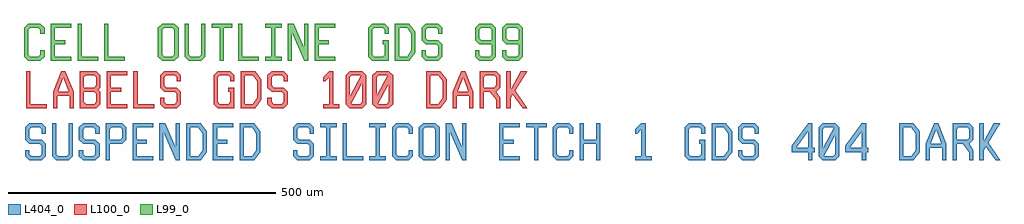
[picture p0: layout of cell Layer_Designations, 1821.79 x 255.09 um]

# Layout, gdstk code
import gdstk
lib = gdstk.Library(unit=1e-6, precision=1e-09)
def R(c, l, rs):  # rectangles x0, y0, x1, y1
    for r in rs: c.add(gdstk.rectangle(r[:2], r[2:], *l))
def P(c, l, *ps):  # polygons
    for p in ps: c.add(gdstk.Polygon(p, *l))
L99_0 = (99, 0)
L100_0 = (100, 0)
L404_0 = (404, 0)

layer_designations = lib.new_cell('Layer_Designations')
R(layer_designations, L99_0, [(-63.279,34.715,-55.587,103.945)])
P(layer_designations, L99_0, [(-747.894,34.715),(-755.587,42.407),(-755.587,96.253),(-747.894,103.945),(-724.817,103.945),(-717.125,96.253),(-717.125,84.715),(-724.817,84.715),(-724.817,92.407),(-728.664,96.253),(-744.048,96.253),(-747.894,92.407),(-747.894,46.253),(-744.048,42.407),(-728.664,42.407),(-724.817,46.253),(-724.817,53.945),(-717.125,53.945),(-717.125,42.407),(-724.817,34.715)],
  [(-705.587,34.715),(-705.587,103.945),(-667.125,103.945),(-667.125,96.253),(-697.894,96.253),(-697.894,73.176),(-678.664,73.176),(-678.664,65.484),(-697.894,65.484),(-697.894,42.407),(-667.125,42.407),(-667.125,34.715)],
  [(-655.587,34.715),(-655.587,103.945),(-647.894,103.945),(-647.894,42.407),(-617.125,42.407),(-617.125,34.715)],
  [(-605.587,34.715),(-605.587,103.945),(-597.894,103.945),(-597.894,42.407),(-567.125,42.407),(-567.125,34.715)],
  [(-497.894,34.715),(-505.587,42.407),(-505.587,96.253),(-497.894,103.945),(-494.048,103.945),(-494.048,96.253),(-497.894,92.407),(-497.894,46.253),(-494.048,42.407),(-478.664,42.407),(-474.817,46.253),(-474.817,92.407),(-478.664,96.253),(-494.048,96.253),(-494.048,103.945),(-474.817,103.945),(-467.125,96.253),(-467.125,42.407),(-474.817,34.715)],
  [(-447.894,34.715),(-455.587,42.407),(-455.587,103.945),(-447.894,103.945),(-447.894,46.253),(-444.048,42.407),(-428.664,42.407),(-424.817,46.253),(-424.817,103.945),(-417.125,103.945),(-417.125,42.407),(-424.817,34.715)],
  [(-390.202,34.715),(-390.202,96.253),(-405.587,96.253),(-405.587,103.945),(-367.125,103.945),(-367.125,96.253),(-382.51,96.253),(-382.51,34.715)],
  [(-355.587,34.715),(-355.587,103.945),(-347.894,103.945),(-347.894,42.407),(-317.125,42.407),(-317.125,34.715)],
  [(-305.587,34.715),(-305.587,42.407),(-294.048,42.407),(-294.048,96.253),(-305.587,96.253),(-305.587,103.945),(-274.817,103.945),(-274.817,96.253),(-286.356,96.253),(-286.356,42.407),(-274.817,42.407),(-274.817,34.715)],
  [(-263.279,34.715),(-263.279,103.945),(-251.741,103.945),(-232.51,57.792),(-232.51,103.945),(-224.817,103.945),(-224.817,34.715),(-232.51,34.715),(-255.587,88.561),(-255.587,34.715)],
  [(-213.279,34.715),(-213.279,103.945),(-174.817,103.945),(-174.817,96.253),(-205.587,96.253),(-205.587,73.176),(-186.356,73.176),(-186.356,65.484),(-205.587,65.484),(-205.587,42.407),(-174.817,42.407),(-174.817,34.715)],
  [(-105.587,34.715),(-113.279,42.407),(-113.279,96.253),(-105.587,103.945),(-82.51,103.945),(-74.817,96.253),(-74.817,84.715),(-82.51,84.715),(-82.51,92.407),(-86.356,96.253),(-101.741,96.253),(-105.587,92.407),(-105.587,46.253),(-101.741,42.407),(-86.356,42.407),(-82.51,46.253),(-82.51,65.484),(-86.356,65.484),(-86.356,73.176),(-74.817,73.176),(-74.817,34.715)],
  [(-63.279,34.715),(-63.279,42.407),(-40.202,42.407),(-32.51,53.945),(-32.51,84.715),(-40.202,96.253),(-63.279,96.253),(-63.279,103.945),(-36.356,103.945),(-24.817,88.561),(-24.817,50.099),(-36.356,34.715)],
  [(-5.587,34.715),(-13.279,42.407),(-13.279,53.945),(-5.587,53.945),(-5.587,46.253),(-1.741,42.407),(13.644,42.407),(17.49,46.253),(17.49,61.638),(13.644,65.484),(-5.587,65.484),(-13.279,73.176),(-13.279,96.253),(-5.587,103.945),(17.49,103.945),(25.183,96.253),(25.183,84.715),(17.49,84.715),(17.49,92.407),(13.644,96.253),(-1.741,96.253),(-5.587,92.407),(-5.587,77.022),(-1.741,73.176),(17.49,73.176),(25.183,65.484),(25.183,42.407),(17.49,34.715)],
  [(94.413,34.715),(86.721,42.407),(86.721,53.945),(94.413,53.945),(94.413,46.253),(98.259,42.407),(113.644,42.407),(117.49,46.253),(117.49,65.484),(94.413,65.484),(86.721,73.176),(86.721,96.253),(94.413,103.945),(98.259,103.945),(98.259,96.253),(94.413,92.407),(94.413,77.022),(98.259,73.176),(117.49,73.176),(117.49,92.407),(113.644,96.253),(98.259,96.253),(98.259,103.945),(117.49,103.945),(125.183,96.253),(125.183,42.407),(117.49,34.715)],
  [(144.413,34.715),(136.721,42.407),(136.721,53.945),(144.413,53.945),(144.413,46.253),(148.259,42.407),(163.644,42.407),(167.49,46.253),(167.49,65.484),(144.413,65.484),(136.721,73.176),(136.721,96.253),(144.413,103.945),(148.259,103.945),(148.259,96.253),(144.413,92.407),(144.413,77.022),(148.259,73.176),(167.49,73.176),(167.49,92.407),(163.644,96.253),(148.259,96.253),(148.259,103.945),(167.49,103.945),(175.183,96.253),(175.183,42.407),(167.49,34.715)])
R(layer_designations, L100_0, [(-351.295,-53.729,-343.602,15.501), (-5.141,-53.729,2.551,15.501), (144.859,-53.729,152.551,15.501), (-701.295,-30.652,-662.833,-22.96), (44.859,-30.652,83.321,-22.96)])
P(layer_designations, L100_0, [(175.628,-53.729),(152.551,-22.96),(160.244,-19.114),(183.321,-53.729)],
  [(144.859,-53.729),(144.859,15.501),(152.551,15.501),(152.551,-19.114),(171.782,15.501),(183.321,15.501),(152.551,-34.499),(152.551,-53.729)],
  [(125.628,-53.729),(125.628,-38.345),(114.09,-22.96),(125.628,-22.96),(133.321,-34.499),(133.321,-53.729)],
  [(94.859,-53.729),(94.859,15.501),(106.398,15.501),(106.398,7.809),(102.551,3.963),(102.551,-15.268),(121.782,-15.268),(125.628,-11.422),(125.628,3.963),(121.782,7.809),(106.398,7.809),(106.398,15.501),(125.628,15.501),(133.321,7.809),(133.321,-15.268),(125.628,-22.96),(102.551,-22.96),(102.551,-53.729)],
  [(44.859,-53.729),(44.859,-22.96),(60.244,15.501),(67.936,15.501),(83.321,-22.96),(83.321,-53.729),(75.628,-53.729),(75.628,-26.806),(64.09,3.963),(52.551,-26.806),(52.551,-53.729)],
  [(-5.141,-53.729),(-5.141,-46.037),(17.936,-46.037),(25.628,-34.499),(25.628,-3.729),(17.936,7.809),(-5.141,7.809),(-5.141,15.501),(21.782,15.501),(33.321,0.117),(33.321,-38.345),(21.782,-53.729)],
  [(-97.449,-49.883),(-105.141,-46.037),(-74.372,11.655),(-66.679,7.809)],
  [(-97.449,-53.729),(-105.141,-46.037),(-105.141,7.809),(-97.449,15.501),(-93.602,15.501),(-93.602,7.809),(-97.449,3.963),(-97.449,-42.191),(-93.602,-46.037),(-78.218,-46.037),(-74.372,-42.191),(-74.372,3.963),(-78.218,7.809),(-93.602,7.809),(-93.602,15.501),(-74.372,15.501),(-66.679,7.809),(-66.679,-46.037),(-74.372,-53.729)],
  [(-147.449,-49.883),(-155.141,-46.037),(-124.372,11.655),(-116.679,7.809)],
  [(-147.449,-53.729),(-155.141,-46.037),(-155.141,7.809),(-147.449,15.501),(-143.602,15.501),(-143.602,7.809),(-147.449,3.963),(-147.449,-42.191),(-143.602,-46.037),(-128.218,-46.037),(-124.372,-42.191),(-124.372,3.963),(-128.218,7.809),(-143.602,7.809),(-143.602,15.501),(-124.372,15.501),(-116.679,7.809),(-116.679,-46.037),(-124.372,-53.729)],
  [(-197.449,-53.729),(-197.449,-46.037),(-185.91,-46.037),(-185.91,3.963),(-193.602,-3.729),(-197.449,-3.729),(-197.449,3.963),(-185.91,15.501),(-178.218,15.501),(-178.218,-46.037),(-166.679,-46.037),(-166.679,-53.729)],
  [(-293.602,-53.729),(-301.295,-46.037),(-301.295,-34.499),(-293.602,-34.499),(-293.602,-42.191),(-289.756,-46.037),(-274.372,-46.037),(-270.526,-42.191),(-270.526,-26.806),(-274.372,-22.96),(-293.602,-22.96),(-301.295,-15.268),(-301.295,7.809),(-293.602,15.501),(-270.526,15.501),(-262.833,7.809),(-262.833,-3.729),(-270.526,-3.729),(-270.526,3.963),(-274.372,7.809),(-289.756,7.809),(-293.602,3.963),(-293.602,-11.422),(-289.756,-15.268),(-270.526,-15.268),(-262.833,-22.96),(-262.833,-46.037),(-270.526,-53.729)],
  [(-351.295,-53.729),(-351.295,-46.037),(-328.218,-46.037),(-320.526,-34.499),(-320.526,-3.729),(-328.218,7.809),(-351.295,7.809),(-351.295,15.501),(-324.372,15.501),(-312.833,0.117),(-312.833,-38.345),(-324.372,-53.729)],
  [(-393.602,-53.729),(-401.295,-46.037),(-401.295,7.809),(-393.602,15.501),(-370.526,15.501),(-362.833,7.809),(-362.833,-3.729),(-370.526,-3.729),(-370.526,3.963),(-374.372,7.809),(-389.756,7.809),(-393.602,3.963),(-393.602,-42.191),(-389.756,-46.037),(-374.372,-46.037),(-370.526,-42.191),(-370.526,-22.96),(-374.372,-22.96),(-374.372,-15.268),(-362.833,-15.268),(-362.833,-53.729)],
  [(-493.602,-53.729),(-501.295,-46.037),(-501.295,-34.499),(-493.602,-34.499),(-493.602,-42.191),(-489.756,-46.037),(-474.372,-46.037),(-470.526,-42.191),(-470.526,-26.806),(-474.372,-22.96),(-493.602,-22.96),(-501.295,-15.268),(-501.295,7.809),(-493.602,15.501),(-470.526,15.501),(-462.833,7.809),(-462.833,-3.729),(-470.526,-3.729),(-470.526,3.963),(-474.372,7.809),(-489.756,7.809),(-493.602,3.963),(-493.602,-11.422),(-489.756,-15.268),(-470.526,-15.268),(-462.833,-22.96),(-462.833,-46.037),(-470.526,-53.729)],
  [(-551.295,-53.729),(-551.295,15.501),(-543.602,15.501),(-543.602,-46.037),(-512.833,-46.037),(-512.833,-53.729)],
  [(-601.295,-53.729),(-601.295,15.501),(-562.833,15.501),(-562.833,7.809),(-593.602,7.809),(-593.602,-15.268),(-574.372,-15.268),(-574.372,-22.96),(-593.602,-22.96),(-593.602,-46.037),(-562.833,-46.037),(-562.833,-53.729)],
  [(-651.295,-53.729),(-651.295,15.501),(-639.756,15.501),(-639.756,7.809),(-643.602,3.963),(-643.602,-42.191),(-639.756,-46.037),(-624.372,-46.037),(-620.526,-42.191),(-620.526,-26.806),(-624.372,-22.96),(-643.602,-22.96),(-643.602,-15.268),(-624.372,-15.268),(-620.526,-11.422),(-620.526,3.963),(-624.372,7.809),(-639.756,7.809),(-639.756,15.501),(-620.526,15.501),(-612.833,7.809),(-612.833,-15.268),(-616.679,-19.114),(-612.833,-22.96),(-612.833,-46.037),(-620.526,-53.729)],
  [(-701.295,-53.729),(-701.295,-22.96),(-685.91,15.501),(-678.218,15.501),(-662.833,-22.96),(-662.833,-53.729),(-670.526,-53.729),(-670.526,-26.806),(-682.064,3.963),(-693.602,-26.806),(-693.602,-53.729)],
  [(-751.295,-53.729),(-751.295,15.501),(-743.602,15.501),(-743.602,-46.037),(-712.833,-46.037),(-712.833,-53.729)])
R(layer_designations, L404_0, [(-453.023,-151.141,-445.331,-81.911), (-353.023,-151.141,-345.331,-81.911), (527.746,-151.141,535.438,-81.911), (708.515,-151.141,716.207,-81.911), (808.515,-151.141,816.207,-81.911), (877.746,-151.141,885.438,-81.911), (1027.746,-151.141,1035.438,-81.911), (927.746,-128.064,966.207,-120.372)])
P(layer_designations, L404_0, [(-745.331,-151.141),(-753.023,-143.449),(-753.023,-131.911),(-745.331,-131.911),(-745.331,-139.603),(-741.485,-143.449),(-726.1,-143.449),(-722.254,-139.603),(-722.254,-124.218),(-726.1,-120.372),(-745.331,-120.372),(-753.023,-112.68),(-753.023,-89.603),(-745.331,-81.911),(-722.254,-81.911),(-714.562,-89.603),(-714.562,-101.141),(-722.254,-101.141),(-722.254,-93.449),(-726.1,-89.603),(-741.485,-89.603),(-745.331,-93.449),(-745.331,-108.834),(-741.485,-112.68),(-722.254,-112.68),(-714.562,-120.372),(-714.562,-143.449),(-722.254,-151.141)],
  [(-695.331,-151.141),(-703.023,-143.449),(-703.023,-81.911),(-695.331,-81.911),(-695.331,-139.603),(-691.485,-143.449),(-676.1,-143.449),(-672.254,-139.603),(-672.254,-81.911),(-664.562,-81.911),(-664.562,-143.449),(-672.254,-151.141)],
  [(-645.331,-151.141),(-653.023,-143.449),(-653.023,-131.911),(-645.331,-131.911),(-645.331,-139.603),(-641.485,-143.449),(-626.1,-143.449),(-622.254,-139.603),(-622.254,-124.218),(-626.1,-120.372),(-645.331,-120.372),(-653.023,-112.68),(-653.023,-89.603),(-645.331,-81.911),(-622.254,-81.911),(-614.562,-89.603),(-614.562,-101.141),(-622.254,-101.141),(-622.254,-93.449),(-626.1,-89.603),(-641.485,-89.603),(-645.331,-93.449),(-645.331,-108.834),(-641.485,-112.68),(-622.254,-112.68),(-614.562,-120.372),(-614.562,-143.449),(-622.254,-151.141)],
  [(-603.023,-151.141),(-603.023,-81.911),(-591.485,-81.911),(-591.485,-89.603),(-595.331,-93.449),(-595.331,-112.68),(-576.1,-112.68),(-572.254,-108.834),(-572.254,-93.449),(-576.1,-89.603),(-591.485,-89.603),(-591.485,-81.911),(-572.254,-81.911),(-564.562,-89.603),(-564.562,-112.68),(-572.254,-120.372),(-595.331,-120.372),(-595.331,-151.141)],
  [(-553.023,-151.141),(-553.023,-81.911),(-514.562,-81.911),(-514.562,-89.603),(-545.331,-89.603),(-545.331,-112.68),(-526.1,-112.68),(-526.1,-120.372),(-545.331,-120.372),(-545.331,-143.449),(-514.562,-143.449),(-514.562,-151.141)],
  [(-503.023,-151.141),(-503.023,-81.911),(-491.485,-81.911),(-472.254,-128.064),(-472.254,-81.911),(-464.562,-81.911),(-464.562,-151.141),(-472.254,-151.141),(-495.331,-97.295),(-495.331,-151.141)],
  [(-453.023,-151.141),(-453.023,-143.449),(-429.947,-143.449),(-422.254,-131.911),(-422.254,-101.141),(-429.947,-89.603),(-453.023,-89.603),(-453.023,-81.911),(-426.1,-81.911),(-414.562,-97.295),(-414.562,-135.757),(-426.1,-151.141)],
  [(-403.023,-151.141),(-403.023,-81.911),(-364.562,-81.911),(-364.562,-89.603),(-395.331,-89.603),(-395.331,-112.68),(-376.1,-112.68),(-376.1,-120.372),(-395.331,-120.372),(-395.331,-143.449),(-364.562,-143.449),(-364.562,-151.141)],
  [(-353.023,-151.141),(-353.023,-143.449),(-329.947,-143.449),(-322.254,-131.911),(-322.254,-101.141),(-329.947,-89.603),(-353.023,-89.603),(-353.023,-81.911),(-326.1,-81.911),(-314.562,-97.295),(-314.562,-135.757),(-326.1,-151.141)],
  [(-245.331,-151.141),(-253.023,-143.449),(-253.023,-131.911),(-245.331,-131.911),(-245.331,-139.603),(-241.485,-143.449),(-226.1,-143.449),(-222.254,-139.603),(-222.254,-124.218),(-226.1,-120.372),(-245.331,-120.372),(-253.023,-112.68),(-253.023,-89.603),(-245.331,-81.911),(-222.254,-81.911),(-214.562,-89.603),(-214.562,-101.141),(-222.254,-101.141),(-222.254,-93.449),(-226.1,-89.603),(-241.485,-89.603),(-245.331,-93.449),(-245.331,-108.834),(-241.485,-112.68),(-222.254,-112.68),(-214.562,-120.372),(-214.562,-143.449),(-222.254,-151.141)],
  [(-203.023,-151.141),(-203.023,-143.449),(-191.485,-143.449),(-191.485,-89.603),(-203.023,-89.603),(-203.023,-81.911),(-172.254,-81.911),(-172.254,-89.603),(-183.793,-89.603),(-183.793,-143.449),(-172.254,-143.449),(-172.254,-151.141)],
  [(-160.716,-151.141),(-160.716,-81.911),(-153.023,-81.911),(-153.023,-143.449),(-122.254,-143.449),(-122.254,-151.141)],
  [(-110.716,-151.141),(-110.716,-143.449),(-99.177,-143.449),(-99.177,-89.603),(-110.716,-89.603),(-110.716,-81.911),(-79.947,-81.911),(-79.947,-89.603),(-91.485,-89.603),(-91.485,-143.449),(-79.947,-143.449),(-79.947,-151.141)],
  [(-60.716,-151.141),(-68.408,-143.449),(-68.408,-89.603),(-60.716,-81.911),(-37.639,-81.911),(-29.947,-89.603),(-29.947,-101.141),(-37.639,-101.141),(-37.639,-93.449),(-41.485,-89.603),(-56.87,-89.603),(-60.716,-93.449),(-60.716,-139.603),(-56.87,-143.449),(-41.485,-143.449),(-37.639,-139.603),(-37.639,-131.911),(-29.947,-131.911),(-29.947,-143.449),(-37.639,-151.141)],
  [(-10.716,-151.141),(-18.408,-143.449),(-18.408,-89.603),(-10.716,-81.911),(-6.87,-81.911),(-6.87,-89.603),(-10.716,-93.449),(-10.716,-139.603),(-6.87,-143.449),(8.515,-143.449),(12.361,-139.603),(12.361,-93.449),(8.515,-89.603),(-6.87,-89.603),(-6.87,-81.911),(12.361,-81.911),(20.053,-89.603),(20.053,-143.449),(12.361,-151.141)],
  [(31.592,-151.141),(31.592,-81.911),(43.13,-81.911),(62.361,-128.064),(62.361,-81.911),(70.053,-81.911),(70.053,-151.141),(62.361,-151.141),(39.284,-97.295),(39.284,-151.141)],
  [(131.592,-151.141),(131.592,-81.911),(170.053,-81.911),(170.053,-89.603),(139.284,-89.603),(139.284,-112.68),(158.515,-112.68),(158.515,-120.372),(139.284,-120.372),(139.284,-143.449),(170.053,-143.449),(170.053,-151.141)],
  [(196.977,-151.141),(196.977,-89.603),(181.592,-89.603),(181.592,-81.911),(220.053,-81.911),(220.053,-89.603),(204.669,-89.603),(204.669,-151.141)],
  [(239.284,-151.141),(231.592,-143.449),(231.592,-89.603),(239.284,-81.911),(262.361,-81.911),(270.053,-89.603),(270.053,-101.141),(262.361,-101.141),(262.361,-93.449),(258.515,-89.603),(243.13,-89.603),(239.284,-93.449),(239.284,-139.603),(243.13,-143.449),(258.515,-143.449),(262.361,-139.603),(262.361,-131.911),(270.053,-131.911),(270.053,-143.449),(262.361,-151.141)],
  [(281.592,-151.141),(281.592,-81.911),(289.284,-81.911),(289.284,-112.68),(312.361,-112.68),(312.361,-81.911),(320.053,-81.911),(320.053,-151.141),(312.361,-151.141),(312.361,-120.372),(289.284,-120.372),(289.284,-151.141)],
  [(385.438,-151.141),(385.438,-143.449),(396.977,-143.449),(396.977,-93.449),(389.284,-101.141),(385.438,-101.141),(385.438,-93.449),(396.977,-81.911),(404.669,-81.911),(404.669,-143.449),(416.207,-143.449),(416.207,-151.141)],
  [(485.438,-151.141),(477.746,-143.449),(477.746,-89.603),(485.438,-81.911),(508.515,-81.911),(516.207,-89.603),(516.207,-101.141),(508.515,-101.141),(508.515,-93.449),(504.669,-89.603),(489.284,-89.603),(485.438,-93.449),(485.438,-139.603),(489.284,-143.449),(504.669,-143.449),(508.515,-139.603),(508.515,-120.372),(504.669,-120.372),(504.669,-112.68),(516.207,-112.68),(516.207,-151.141)],
  [(527.746,-151.141),(527.746,-143.449),(550.823,-143.449),(558.515,-131.911),(558.515,-101.141),(550.823,-89.603),(527.746,-89.603),(527.746,-81.911),(554.669,-81.911),(566.207,-97.295),(566.207,-135.757),(554.669,-151.141)],
  [(585.438,-151.141),(577.746,-143.449),(577.746,-131.911),(585.438,-131.911),(585.438,-139.603),(589.284,-143.449),(604.669,-143.449),(608.515,-139.603),(608.515,-124.218),(604.669,-120.372),(585.438,-120.372),(577.746,-112.68),(577.746,-89.603),(585.438,-81.911),(608.515,-81.911),(616.207,-89.603),(616.207,-101.141),(608.515,-101.141),(608.515,-93.449),(604.669,-89.603),(589.284,-89.603),(585.438,-93.449),(585.438,-108.834),(589.284,-112.68),(608.515,-112.68),(616.207,-120.372),(616.207,-143.449),(608.515,-151.141)],
  [(677.746,-135.757),(677.746,-124.218),(708.515,-81.911),(716.207,-81.911),(716.207,-85.757),(685.438,-128.064),(720.053,-128.064),(720.053,-135.757)],
  [(735.438,-151.141),(727.746,-143.449),(727.746,-89.603),(735.438,-81.911),(739.284,-81.911),(739.284,-89.603),(735.438,-93.449),(735.438,-139.603),(739.284,-143.449),(754.669,-143.449),(758.515,-139.603),(758.515,-93.449),(754.669,-89.603),(739.284,-89.603),(739.284,-81.911),(758.515,-81.911),(766.207,-89.603),(766.207,-143.449),(758.515,-151.141)],
  [(735.438,-147.295),(727.746,-143.449),(758.515,-85.757),(766.207,-89.603)],
  [(777.746,-135.757),(777.746,-124.218),(808.515,-81.911),(816.207,-81.911),(816.207,-85.757),(785.438,-128.064),(820.053,-128.064),(820.053,-135.757)],
  [(877.746,-151.141),(877.746,-143.449),(900.823,-143.449),(908.515,-131.911),(908.515,-101.141),(900.823,-89.603),(877.746,-89.603),(877.746,-81.911),(904.669,-81.911),(916.207,-97.295),(916.207,-135.757),(904.669,-151.141)],
  [(927.746,-151.141),(927.746,-120.372),(943.13,-81.911),(950.823,-81.911),(966.207,-120.372),(966.207,-151.141),(958.515,-151.141),(958.515,-124.218),(946.977,-93.449),(935.438,-124.218),(935.438,-151.141)],
  [(977.746,-151.141),(977.746,-81.911),(989.284,-81.911),(989.284,-89.603),(985.438,-93.449),(985.438,-112.68),(1004.669,-112.68),(1008.515,-108.834),(1008.515,-93.449),(1004.669,-89.603),(989.284,-89.603),(989.284,-81.911),(1008.515,-81.911),(1016.207,-89.603),(1016.207,-112.68),(1008.515,-120.372),(985.438,-120.372),(985.438,-151.141)],
  [(1008.515,-151.141),(1008.515,-135.757),(996.977,-120.372),(1008.515,-120.372),(1016.207,-131.911),(1016.207,-151.141)],
  [(1027.746,-151.141),(1027.746,-81.911),(1035.438,-81.911),(1035.438,-116.526),(1054.669,-81.911),(1066.207,-81.911),(1035.438,-131.911),(1035.438,-151.141)],
  [(1058.515,-151.141),(1035.438,-120.372),(1043.13,-116.526),(1066.207,-151.141)])

lib.write_gds('Layer_Designations.gds')
